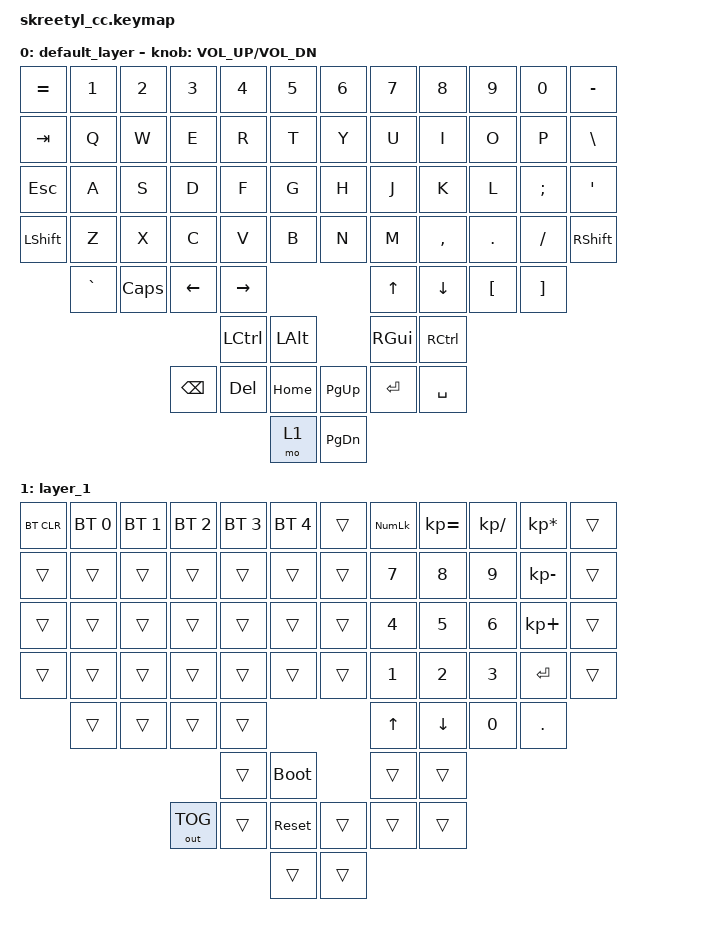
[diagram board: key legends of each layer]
/*
 * Copyright (c) 2020 The ZMK Contributors
 *
 * SPDX-License-Identifier: MIT
 */

#include <behaviors.dtsi>
#include <dt-bindings/zmk/bt.h>
#include <dt-bindings/zmk/keys.h>
#include <dt-bindings/zmk/outputs.h>

/ {
    keymap {
        compatible = "zmk,keymap";

        default_layer {
            bindings = <
&kp EQUAL  &kp N1     &kp N2    &kp N3    &kp N4     &kp N5      &kp N6     &kp N7    &kp N8     &kp N9    &kp N0    &kp MINUS
&kp TAB    &kp Q      &kp W     &kp E     &kp R      &kp T       &kp Y      &kp U     &kp I      &kp O     &kp P     &kp BSLH
&kp ESC    &kp A      &kp S     &kp D     &kp F      &kp G       &kp H      &kp J     &kp K      &kp L     &kp SEMI  &kp SQT
&kp LSHFT  &kp Z      &kp X     &kp C     &kp V      &kp B       &kp N      &kp M     &kp COMMA  &kp DOT   &kp FSLH  &kp RSHIFT
           &kp GRAVE  &kp CAPS  &kp LEFT  &kp RIGHT                         &kp UP    &kp DOWN   &kp LBKT  &kp RBKT
                                          &kp LCTRL  &kp LALT               &kp RGUI  &kp RCTRL
                                &kp BSPC  &kp DEL    &kp HOME    &kp PG_UP  &kp RET   &kp SPACE
                                                     &mo 1       &kp PG_DN
            >;

            sensor-bindings = <&inc_dec_kp C_VOL_UP C_VOL_DN>;
        };

        layer_1 {
            bindings = <
&bt BT_CLR  &bt BT_SEL 0  &bt BT_SEL 1  &bt BT_SEL 2  &bt BT_SEL 3  &bt BT_SEL 4    &trans  &kp KP_NUMLOCK  &kp KP_EQUAL  &kp KP_DIVIDE  &kp KP_MULTIPLY  &trans
&trans      &trans        &trans        &trans        &trans        &trans          &trans  &kp N7          &kp N8        &kp N9         &kp KP_MINUS     &trans
&trans      &trans        &trans        &trans        &trans        &trans          &trans  &kp N4          &kp N5        &kp N6         &kp KP_PLUS      &trans
&trans      &trans        &trans        &trans        &trans        &trans          &trans  &kp N1          &kp N2        &kp N3         &kp RET          &trans
            &trans        &trans        &trans        &trans                                &kp UP          &kp DOWN      &kp N0         &kp DOT
                                                      &trans        &bootloader             &trans          &trans
                                        &out OUT_TOG  &trans        &sys_reset      &trans  &trans          &trans
                                                                    &trans          &trans
            >;
        };
    };
};
